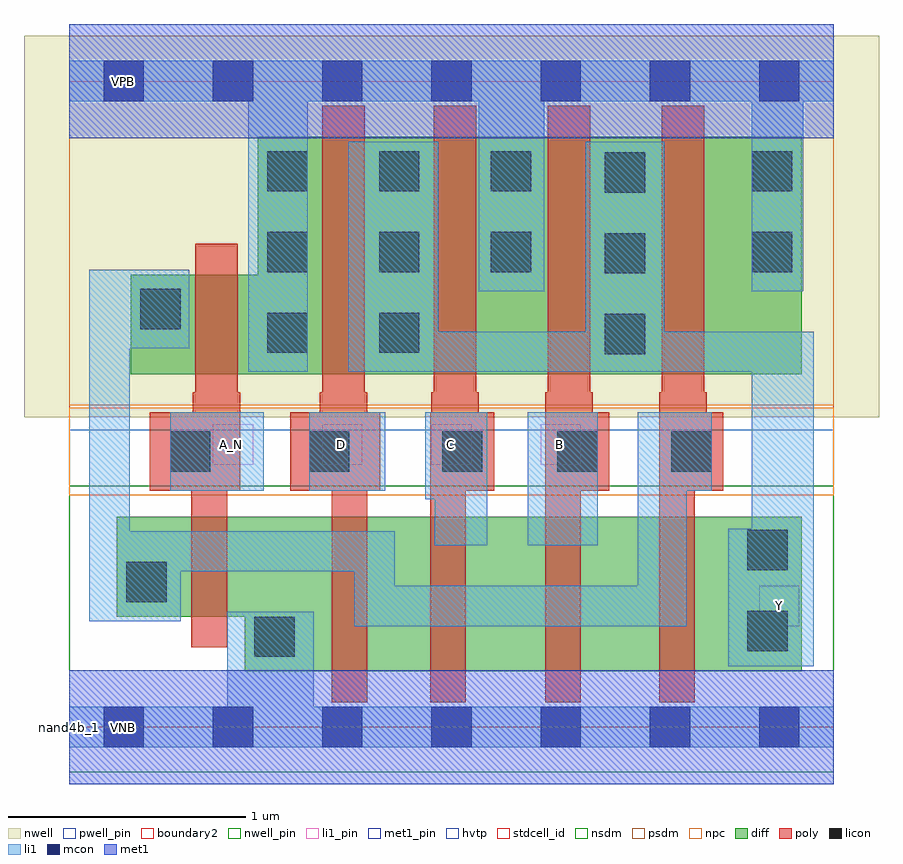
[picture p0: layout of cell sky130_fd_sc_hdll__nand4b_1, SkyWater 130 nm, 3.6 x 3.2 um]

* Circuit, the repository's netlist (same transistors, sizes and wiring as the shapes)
* Copyright 2020 The SkyWater PDK Authors
*
* Licensed under the Apache License, Version 2.0 (the "License");
* you may not use this file except in compliance with the License.
* You may obtain a copy of the License at
*
*     https://www.apache.org/licenses/LICENSE-2.0
*
* Unless required by applicable law or agreed to in writing, software
* distributed under the License is distributed on an "AS IS" BASIS,
* WITHOUT WARRANTIES OR CONDITIONS OF ANY KIND, either express or implied.
* See the License for the specific language governing permissions and
* limitations under the License.
*
* SPDX-License-Identifier: Apache-2.0

.SUBCKT sky130_fd_sc_hdll__nand4b_1 A_N B C D VGND VNB VPB VPWR Y
*.PININFO A_N:I B:I C:I D:I VGND:I VNB:I VPB:I VPWR:I Y:O
MMP0 Y A VPWR VPB sky130_fd_pr__pfet_01v8_hvt m=1 w=1.0U l=0.18U mult=1 sa=0.265
+ sb=0.265 sd=0.28 area=0.063 perim=1.14
MMP1 Y B VPWR VPB sky130_fd_pr__pfet_01v8_hvt m=1 w=1.0U l=0.18U mult=1 sa=0.265
+ sb=0.265 sd=0.28 area=0.063 perim=1.14
MMP2 Y C VPWR VPB sky130_fd_pr__pfet_01v8_hvt m=1 w=1.0U l=0.18U mult=1 sa=0.265
+ sb=0.265 sd=0.28 area=0.063 perim=1.14
MMP3 Y D VPWR VPB sky130_fd_pr__pfet_01v8_hvt m=1 w=1.0U l=0.18U mult=1 sa=0.265
+ sb=0.265 sd=0.28 area=0.063 perim=1.14
MMIP0 A A_N VPWR VPB sky130_fd_pr__pfet_01v8_hvt m=1 w=0.42U l=0.18U mult=1 sa=0.265
+ sb=0.265 sd=0.28 area=0.063 perim=1.14
MMN0 Y A sndA VNB sky130_fd_pr__nfet_01v8 m=1 w=0.65U l=0.15U mult=1 sa=0.265 sb=0.265
+ sd=0.28 area=0.063 perim=1.14
MMN1 sndA B sndB VNB sky130_fd_pr__nfet_01v8 m=1 w=0.65U l=0.15U mult=1 sa=0.265
+ sb=0.265 sd=0.28 area=0.063 perim=1.14
MMN2 sndB C sndC VNB sky130_fd_pr__nfet_01v8 m=1 w=0.65U l=0.15U mult=1 sa=0.265
+ sb=0.265 sd=0.28 area=0.063 perim=1.14
MMN3 sndC D VGND VNB sky130_fd_pr__nfet_01v8 m=1 w=0.65U l=0.15U mult=1 sa=0.265
+ sb=0.265 sd=0.28 area=0.063 perim=1.14
MMIN0 A A_N VGND VNB sky130_fd_pr__nfet_01v8 m=1 w=0.42U l=0.15U mult=1 sa=0.265
+ sb=0.265 sd=0.28 area=0.063 perim=1.14
.ENDS sky130_fd_sc_hdll__nand4b_1

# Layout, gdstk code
import gdstk
lib = gdstk.Library(unit=1e-6, precision=1e-09)
def R(c, l, rs):  # rectangles x0, y0, x1, y1
    for r in rs: c.add(gdstk.rectangle(r[:2], r[2:], *l))
def A(c, l, x, y, w, h, nx, ny, dx, dy):  # array of equal rectangles
    R(c, l, [(x+i*dx, y+j*dy, x+i*dx+w, y+j*dy+h) for i in range(nx) for j in range(ny)])
def P(c, l, *ps):  # polygons
    for p in ps: c.add(gdstk.Polygon(p, *l))
nwell_pin = (64, 16)
nwell = (64, 20)
diff = (65, 20)
poly = (66, 20)
licon = (66, 44)
li1_pin = (67, 16)
li1 = (67, 20)
mcon = (67, 44)
met1_pin = (68, 16)
met1 = (68, 20)
hvtp = (78, 44)
stdcell_id = (81, 4)
nsdm = (93, 44)
psdm = (94, 20)
npc = (95, 20)
pwell_pin = (122, 16)
boundary2 = (236, 0)

sky130_fd_sc_hdll__nand4 = lib.new_cell('sky130_fd_sc_hdll__nand4b_1')
R(sky130_fd_sc_hdll__nand4, nwell_pin, [(0.145,2.635,0.315,2.805)])
R(sky130_fd_sc_hdll__nand4, nwell, [(-0.19,1.305,3.41,2.91)])
P(sky130_fd_sc_hdll__nand4, diff, [(3.085,0.885),(0.2,0.885),(0.2,0.465),(0.74,0.465),(0.74,0.235),(3.085,0.235)],
  [(3.085,2.485),(0.795,2.485),(0.795,1.905),(0.26,1.905),(0.26,1.485),(3.085,1.485)])
P(sky130_fd_sc_hdll__nand4, poly, [(0.72,1.41),(0.71,1.41),(0.71,2.035),(0.53,2.035),(0.53,1.41),(0.52,1.41),(0.52,1.325),(0.34,1.325),(0.34,0.995),(0.515,0.995),(0.515,0.335),(0.665,0.335),(0.665,0.995),(0.72,0.995)],
  [(1.31,1.325),(1.255,1.325),(1.255,1.41),(1.245,1.41),(1.245,2.615),(1.065,2.615),(1.065,1.41),(1.055,1.41),(1.055,1.325),(0.93,1.325),(0.93,0.995),(1.105,0.995),(1.105,0.105),(1.255,0.105),(1.255,0.995),(1.31,0.995)],
  [(1.79,1.325),(1.725,1.325),(1.725,1.41),(1.715,1.41),(1.715,2.615),(1.535,2.615),(1.535,1.41),(1.525,1.41),(1.525,1.325),(1.52,1.325),(1.52,0.105),(1.67,0.105),(1.67,0.995),(1.79,0.995)],
  [(2.275,1.325),(2.205,1.325),(2.205,1.41),(2.195,1.41),(2.195,2.615),(2.015,2.615),(2.015,1.41),(2.005,1.41),(2.005,0.105),(2.155,0.105),(2.155,0.995),(2.275,0.995)],
  [(2.755,1.325),(2.685,1.325),(2.685,1.41),(2.675,1.41),(2.675,2.615),(2.495,2.615),(2.495,1.41),(2.485,1.41),(2.485,0.105),(2.635,0.105),(2.635,0.995),(2.755,0.995)])
A(sky130_fd_sc_hdll__nand4, licon, 2.255, 1.57, 0.17, 0.17, 1, 3, 0, 0.34)
A(sky130_fd_sc_hdll__nand4, licon, 0.835, 1.915, 0.17, 0.17, 3, 2, 0.47, 0.34)
R(sky130_fd_sc_hdll__nand4, licon, [(0.78,0.295,0.95,0.465), (2.855,0.32,3.025,0.49), (0.24,0.525,0.41,0.695), (2.855,0.66,3.025,0.83), (0.425,1.075,0.595,1.245), (1.01,1.075,1.18,1.245), (1.57,1.075,1.74,1.245), (2.055,1.075,2.225,1.245), (2.535,1.075,2.705,1.245), (0.835,1.575,1.005,1.745), (1.305,1.575,1.475,1.745), (0.3,1.675,0.47,1.845), (2.875,1.915,3.045,2.085), (2.875,2.255,3.045,2.425)])
A(sky130_fd_sc_hdll__nand4, li1_pin, 0.605, 1.105, 0.17, 0.17, 4, 1, 0.46, 0)
R(sky130_fd_sc_hdll__nand4, li1_pin, [(2.905,0.425,3.075,0.595)])
R(sky130_fd_sc_hdll__nand4, li1, [(1.93,0.765,2.225,1.325), (0.425,0.995,0.82,1.325), (1.01,0.995,1.33,1.325)])
P(sky130_fd_sc_hdll__nand4, li1, [(3.22,0.085),(1.03,0.085),(1.03,0.485),(0.665,0.485),(0.665,0.085),(0,0.085),(0,-0.085),(3.22,-0.085)],
  [(3.22,2.805),(0,2.805),(0,2.635),(0.755,2.635),(0.755,1.495),(1.005,1.495),(1.005,2.635),(1.725,2.635),(1.725,1.835),(2,1.835),(2,2.635),(2.875,2.635),(2.875,1.835),(3.09,1.835),(3.09,2.635),(3.22,2.635)],
  [(3.135,1.665),(2.505,1.665),(2.505,2.465),(2.175,2.465),(2.175,1.665),(1.555,1.665),(1.555,2.465),(1.175,2.465),(1.175,1.495),(2.875,1.495),(2.875,0.835),(2.775,0.835),(2.775,0.255),(3.135,0.255)],
  [(2.705,1.325),(2.395,1.325),(2.395,0.595),(1.37,0.595),(1.37,0.825),(0.255,0.825),(0.255,1.595),(0.505,1.595),(0.505,1.925),(0.085,1.925),(0.085,0.445),(0.47,0.445),(0.47,0.655),(1.2,0.655),(1.2,0.425),(2.6,0.425),(2.6,0.995),(2.705,0.995)],
  [(1.76,1.325),(1.5,1.325),(1.5,0.96),(1.54,0.96),(1.54,0.765),(1.76,0.765)])
A(sky130_fd_sc_hdll__nand4, mcon, 0.145, -0.085, 0.17, 0.17, 7, 2, 0.46, 2.72)
R(sky130_fd_sc_hdll__nand4, met1_pin, [(0.145,-0.085,0.315,0.085), (0.145,2.635,0.315,2.805)])
R(sky130_fd_sc_hdll__nand4, met1, [(0,-0.24,3.22,0.24), (0,2.48,3.22,2.96)])
R(sky130_fd_sc_hdll__nand4, hvtp, [(0,1.25,3.22,2.72)])
R(sky130_fd_sc_hdll__nand4, stdcell_id, [(0,0,3.22,2.72)])
R(sky130_fd_sc_hdll__nand4, nsdm, [(0,-0.19,3.22,1.015)])
R(sky130_fd_sc_hdll__nand4, psdm, [(0,1.355,3.22,2.91)])
R(sky130_fd_sc_hdll__nand4, npc, [(0,0.975,3.22,1.345)])
R(sky130_fd_sc_hdll__nand4, pwell_pin, [(0.145,-0.085,0.315,0.085)])
R(sky130_fd_sc_hdll__nand4, boundary2, [(0,0,3.22,2.72)])
sky130_fd_sc_hdll__nand4.add(gdstk.Label('Y', (2.99,0.51), layer=67, texttype=5))
sky130_fd_sc_hdll__nand4.add(gdstk.Label('C', (1.605,1.19), layer=67, texttype=5))
sky130_fd_sc_hdll__nand4.add(gdstk.Label('D', (1.145,1.19), layer=67, texttype=5))
sky130_fd_sc_hdll__nand4.add(gdstk.Label('A_N', (0.685,1.19), layer=67, texttype=5))
sky130_fd_sc_hdll__nand4.add(gdstk.Label('B', (2.065,1.19), layer=67, texttype=5))
sky130_fd_sc_hdll__nand4.add(gdstk.Label('VPB', (0.23,2.72), layer=64, texttype=5))
sky130_fd_sc_hdll__nand4.add(gdstk.Label('VNB', (0.23,0), layer=64, texttype=59))
sky130_fd_sc_hdll__nand4.add(gdstk.Label('VGND', (0.23,0), layer=68, texttype=5))
sky130_fd_sc_hdll__nand4.add(gdstk.Label('VPWR', (0.23,2.72), layer=68, texttype=5))
sky130_fd_sc_hdll__nand4.add(gdstk.Label('nand4b_1', (0,0), layer=83, texttype=44))

lib.write_gds('sky130_fd_sc_hdll__nand4b_1.gds')
